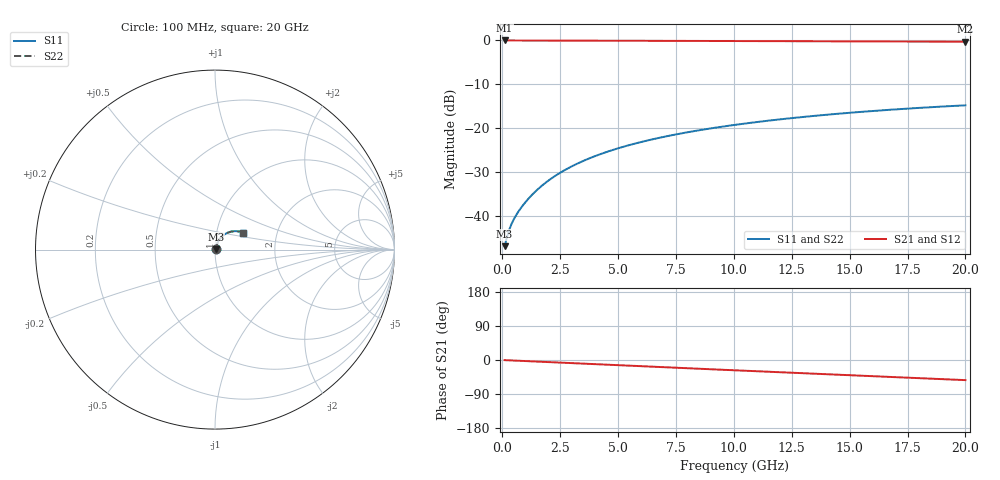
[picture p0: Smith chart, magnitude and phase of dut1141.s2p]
! Touchstone file exported from HFSS 2026.1.0
!  File:  C:/ffzhzh/LocalFiles/Ansys_Project_Files/temp_train_BSMRDL_1141_1783175463_43440.aedt
!  Generated:  10:32:17 PM Jul  4, 2026
!  Design:  BSMRDL
!  Project:  temp_train_BSMRDL_1141_1783175463_43440
! Variables:
!  h_bsmrdl = 3.36um
!  h_ox = 20um
!  h_rdl = 5um
!  h_sub = 80um
!  h_tmrdl = 5um
!  h_tsv = 80um
!  h_via = 3um
!  l_bsmrdl = 922.84um
!  l_sub = 1322.84um
!  l_tmrdl = 200um
!  m_sub = 200um
!  pitch = 34.2um
!  r_tsv = 6um
!  s_tmrdl = 10um
!  w_bsmrdl = 25.72um
!  w_sub = 500um
!  w_tmrdl = 12um
!  x_tsv_center1 = 206um
!  x_tsv_center2 = 1154.56um
!  x_tsv_center3 = 1366.56um
!  x_tsv_center4 = 2315.12um
!  x_tsv_center5 = 2527.12um
!  x_tsv_center6 = 3475.68um
# GHz S MA R 50.000000
! Terminal data exported
! Port[1] = BSM_RDL1_1_T1
! Port[2] = BSM_RDL1_1_T2
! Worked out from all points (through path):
!   200 points, 100 MHz to 20 GHz, reference 50 ohm
!   highest |S21| = -0.04 dB at 100 MHz (marker M1); lowest = -0.3 dB at 20 GHz (marker M2)
!   group delay of S21, straight-line fit = 7.35 ps
!   lowest |S11| = -47.0 dB at 100 MHz (marker M3), VSWR 1.01, Z = 50.4 + j0.182 ohm
!   |S11| at or under -10 dB: start of sweep to end of sweep
!   |S22| runs from -47.0 to -14.8 dB; largest |S21 - S12| = 2.7e-15
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0.1  0.00448 23.8  0.9959 -0.3  0.9959 -0.3  0.00448 23.8
! Gamma 0 0 0 0
! Port Impedance 50 0 50 0
0.2  0.005657 37.0  0.9955 -0.6  0.9955 -0.6  0.005657 37.0
0.3  0.006894 43.6  0.9951 -0.9  0.9951 -0.9  0.006895 43.6
0.4  0.008042 47.7  0.9947 -1.2  0.9947 -1.2  0.008042 47.7
0.5  0.009111 50.8  0.9944 -1.4  0.9944 -1.4  0.009112 50.8
0.6  0.01014 53.5  0.9942 -1.7  0.9942 -1.7  0.01014 53.5
0.8  0.01217 57.7  0.9939 -2.3  0.9939 -2.3  0.01218 57.7
1.2  0.01636 63.5  0.9935 -3.4  0.9935 -3.4  0.01636 63.5
1.7  0.02183 67.3  0.9931 -4.7  0.9931 -4.7  0.02184 67.3
2.2  0.02744 69.1  0.9927 -6.1  0.9927 -6.1  0.02744 69.1
2.8  0.03422 69.7  0.992 -7.7  0.992 -7.7  0.03422 69.7
3.5  0.04209 69.5  0.9912 -9.6  0.9912 -9.6  0.0421 69.5
4.2  0.04987 68.6  0.9902 -11.5  0.9902 -11.5  0.04987 68.6
5  0.05858 67.2  0.989 -13.7  0.989 -13.7  0.05859 67.2
5.9  0.06814 65.3  0.9875 -16.1  0.9875 -16.1  0.06815 65.3
6.8  0.07741 63.3  0.986 -18.6  0.986 -18.6  0.07742 63.3
8.3  0.09221 59.8  0.9833 -22.6  0.9833 -22.6  0.09222 59.8
10.1  0.1089 55.5  0.9801 -27.3  0.9801 -27.3  0.109 55.4
11.7  0.1229 51.6  0.9773 -31.5  0.9773 -31.5  0.1229 51.5
13.4  0.1368 47.5  0.9743 -36.0  0.9743 -36.0  0.1368 47.4
16.7  0.161 39.5  0.969 -44.6  0.969 -44.6  0.161 39.4
20  0.1812 31.5  0.9642 -53.1  0.9642 -53.1  0.1812 31.4
